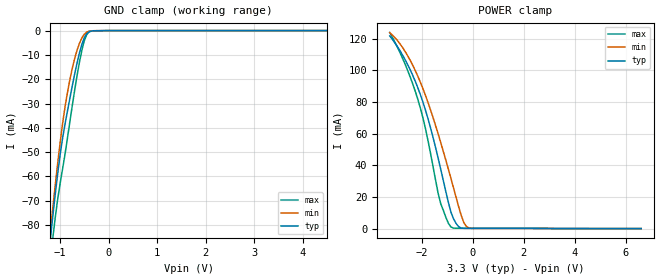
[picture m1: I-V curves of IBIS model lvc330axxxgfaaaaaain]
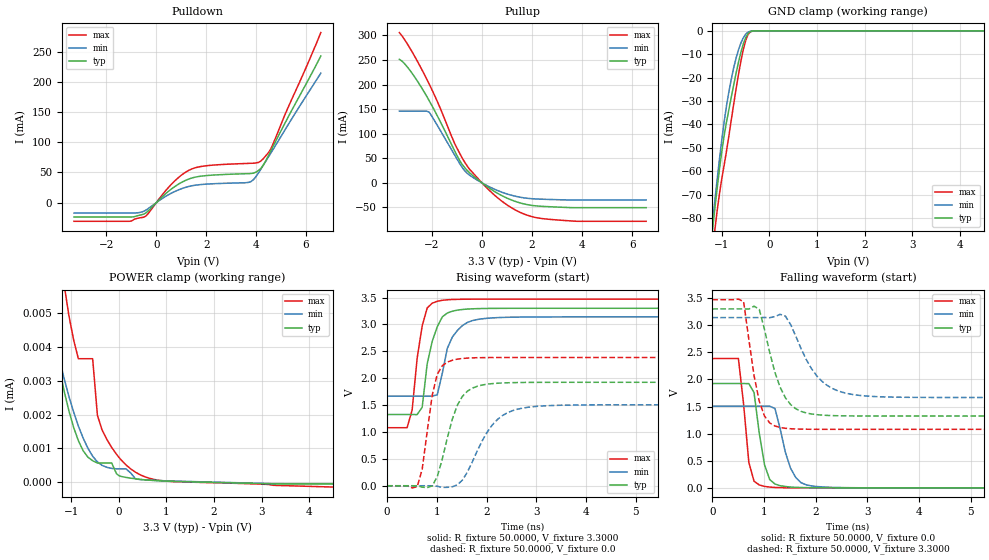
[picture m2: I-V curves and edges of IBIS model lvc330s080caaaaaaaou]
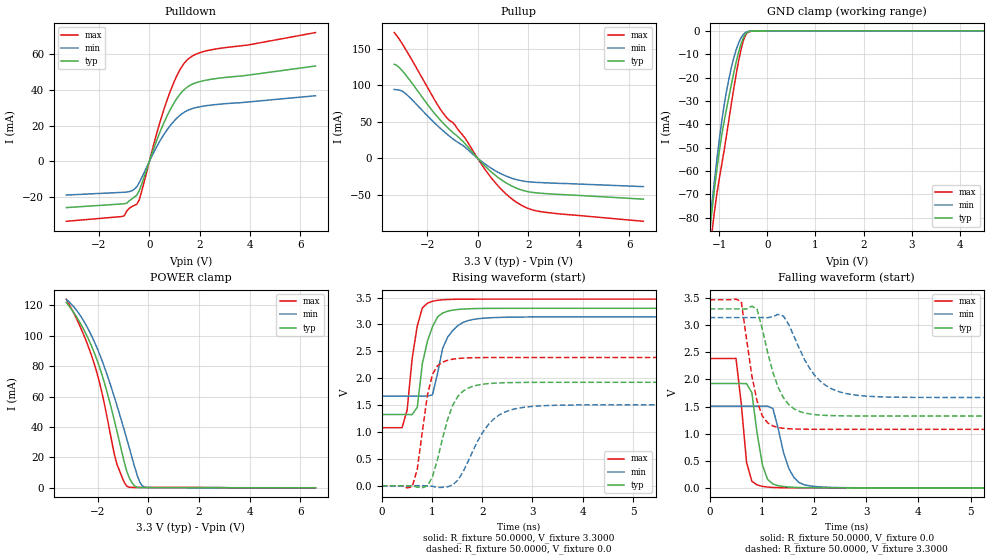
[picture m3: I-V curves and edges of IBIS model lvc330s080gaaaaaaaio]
| IBIS Models Generator: Lattice Diamond (64-bit) 3.13.0.56.2
| Generate date: Sun Dec 22 22:56:46 2024
| IBIS File LibisMaker.ibs
| LibisGen v2.0.1.0, 02/25/2008, Lattice Semiconductor Corporation
| Modified by LibisMaker v2.0.1.0, 02/25/2008, Lattice Semiconductor
| North Carolina State University, ERL, 2006
[IBIS ver]   3.2
[File Name]   lab6_impl1.ibs
[File Rev]   3.6
[Date]   Thu Aug  3 04:51:03 PDT 2023
[Source]   Lattice Semiconductor cs200fl Process
   LCMXO2-4000HC   FINAL
   Lattice Semiconductor has worked hard to ensure the
   models below are accurate and complete.  However, the
   data below was generated using simulation of the
   input/output model files for the silicon.  Therefore,
   the data below is for reference and initial design
   purposes only.
   Lattice Semiconductor grants permission to use this
   data for use in printed circuit design using this
   Lattice programmable logic device.  Other use of this
   code, including the selling or duplication of any
   portion is strictly prohibited.
|   NAMING CONVENTION
   The IBIS [Model] header is limited by the specification to a
   total of characters.  With such a set of characters available
   for naming models it becomes important to attempt to
   meaningfully encode the IO standards so they fit within the
   twenty character limit.  It would seem that twenty characters
   would provide room enough for describing IO's.  However, the
   PLD IO structure continues to grow more and more complex.  The
   complexity is making the twenty characters insuffiently
   descriptive.  In order to overcome this issue the naming
   convention described below is implemented to resolve the issue.
The twenty character space is managed as follows:
   bbbvvvsdddprugtcoixx
   b = standard
   v = voltage (x.xx V)
   s = slew code
   d = drive (xx.x ma)
   p = pullup code
   r = series resistance  or bank_vccio code
   u = terminate to vcc code
   g = terminate to gnd code
   t = terminate to vtt code
   c = common mode termination mode
   o = diff resistor code
   i = diff resistor current code
   x = reserved
   standard
   lvcmos   lvc
   lvcmosd   lvd
   lvcmosr   lvr
   lvds25e   lve
   lvttl   lvt
   lvttld   ltd
   pci   pci
   sstl_I   ss1
   sstl_II   ss2
   sstld_I   s1d
   sstld_II   s2d
   hstl_i   hs1
   hstl_ii   hs2
   hstld_i   h1d
   hstld_ii   h2d
   lvds25   lvs
   blvds25   blv
   blvds25e   blv
   mlvds25   mlv
   mlvds25e   mlv
   lvpecl33   lvp
   lvpecl33e   lvp
   rsds25   rsd
   rsds25e   rse
   mipi   mip
   mipi_lp   mip
   vref1   vr1
   vref2   vr2
   ref_res   rer
   slew
   na   a
   fast   f
   slow   s
   pullmode
   off   a
   pullup   b
   pulldown   c
   bushold   d
   clamp   e
   up_clamp   f
   down_clamp   g
   keeper_clamp   h
   impedance or Bank_vccio
   off   a
   25   b
   33   c
   50   d
   100   e
   3.3   f
   2.5   g
   1.8   h
   1.5   i
   1.2   j
   termVCC
   off   a
   50   b
   100   c
   120   d
   termGND
   off   a
   50   b
   100   c
   120   d
   termVTT
   off   a
   60   b
   75   c
   120   d
   150   e
   210   f
   VCMT
   off   a
   VCMT   b
   VTT   c
   DDR-2   d
   differential resistor
   off   a
   100   b
   diff drive
   NA   a
   2.0   b
   3.5   c
   1.25   f
   2.5   g
   Reserved   IO type
   in   input only
   ou   output
   io   I/O
   od   Open drain
   on   Inverting differential I/O
   (signal name only)
   op   Non-Inverting differential I/O
   (signal name only)
   Lattice Semiconductor Corporation
   5555 NE Moore Court
   Hillsboro, OR 97214
   U.S.A
   TEL: 1-800-Lattice (USA and Canada)
   408-826-6000 (other locations)
   web: http://www.latticesemi.com/
   email: techsupport@latticesemi.com
[Disclaimer] This IBIS source code is intended as a design reference
   which illustrates how the Lattice Semiconductor device operates.
   It is the user's responsibility to verify their design for
   consistency and functionality through the use of formal
   verification methods.  Lattice Semiconductor provides no warranty
   regarding the use or functionality of this data.
[Copyright]   Copyright 2007 by Lattice Semiconductor Corporation
|   Component XO2
[Component]   XO2
[Manufacturer]   Lattice Semiconductor Corp.
[Package]
|CSBGA132
| variable   typ   min   max
R_pkg   285.450m   263.9m   295.0m
L_pkg   4.40nH   3.519nH   5.411nH
C_pkg   0.306pF   0.277pF   0.335pF
[Pin] signal_name   model_name   R_pin   L_pin   C_pin
H12   DQ   lvc330s080gaaaaaaaio
P13   beep   lvc330s080caaaaaaaou
C1   clk   lvc330axxxgfaaaaaain
G3   din   lvc330s080caaaaaaaou
L14   mode_key   lvc330axxxgfaaaaaain
H3   rck   lvc330s080caaaaaaaou
M13   rst   lvc330axxxgfaaaaaain
J2   sck   lvc330s080caaaaaaaou
| Models and submodels in the file (3): lvc330axxxgfaaaaaain (Input), lvc330s080caaaaaaaou (Output), lvc330s080gaaaaaaaio (I/O)
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[Model]   lvc330axxxgfaaaaaain
Model_type   Input
Polarity   Non-Inverting
Enable   Active-Low
Vinl =   0.8000V
Vinh =   2.0000V
C_comp   4.2000pF   3.8000pF   7.5000pF
[Temperature Range]   25.0000   0.1250k   -40.0000
[Voltage Range]   3.3000V   3.1400V   3.4700V
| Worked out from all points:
|   GND clamp passes 1 mA (typ) near -0.43 V on its own axis
|   POWER clamp passes 1 mA (typ) near -0.53 V on its own axis
[GND_clamp]
|Voltage   I(typ)   I(min)   I(max)
-3.3V     -955.3mA   -930.3mA   -978mA
-1.2V     -86.21mA   -82.95mA   -94.94mA
-1.15V    -76.76mA   -73.31mA   -85.77mA
-1.1V     -67.73mA   -63.97mA   -77.32mA
-1V       -51.54mA   -46.59mA   -63.26mA
-900mV    -38.9mA    -31.9mA    -51.31mA
-800mV    -28.29mA   -20.61mA   -38.02mA
-700mV    -18.14mA   -11.66mA   -24.86mA
-600mV    -9.315mA   -5.302mA   -13.12mA
-450mV    -1.255mA   -637uA     -1.701mA
0V        0A         0A         0A
6.6V      0A         0A         0A
[POWER_clamp]
|Voltage   I(typ)   I(min)   I(max)
-3.25V    121.9mA    123.9mA    124.1mA
-2.65V    106.9mA    112.1mA    104.1mA
-2.35V    96.95mA    103.3mA    91.59mA
-2.05V    84.73mA    92.58mA    76.25mA
-1.65V    63.65mA    75mA       47.49mA
-1.35V    44.31mA    59.69mA    21.99mA
-1.25V    37.38mA    54.28mA    15.6mA
-850mV    10.32mA    31.58mA    939uA
-650mV    3.193mA    19.74mA    210uA
-350mV    132.1uA    3.862mA    199.7uA
-150mV    104.6uA    375.8uA    197.7uA
6.6V      -56.35nA   -1.463uA   -71.55uA
[Model]   lvc330s080caaaaaaaou
Model_type   Output
Polarity   Non-Inverting
Enable   Active-Low
Vmeas =   1.500000V
Cref =   0.0F
Rref =   1.0000M
Vref =   0.0V
C_comp   4.2000pF   3.8000pF   7.5000pF
[Temperature Range]   25.0000   0.1250k   -40.0000
[Voltage Range]   3.3000V   3.1400V   3.4700V
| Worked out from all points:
|   slope of the pulldown table from 0 to 0.495 V, typ, clamps not added: 26 ohm
|   slope of the pullup table from 0 to 0.495 V, typ, clamps not added: 28.5 ohm
|   GND clamp passes 1 mA (typ) near -0.44 V on its own axis
|   rising waveform, R_fixture 50.0000, V_fixture 3.3000: 20-80 % time 251ps typ, 301ps min, 192ps max; typ from 1.32 V to 3.3 V
|   rising waveform, R_fixture 50.0000, V_fixture 0.0: 20-80 % time 363ps typ, 551ps min, 235ps max; typ from 0 V to 1.92 V
|   falling waveform, R_fixture 50.0000, V_fixture 0.0: 20-80 % time 188ps typ, 267ps min, 144ps max; typ from 1.92 V to 0 V
|   falling waveform, R_fixture 50.0000, V_fixture 3.3000: 20-80 % time 370ps typ, 535ps min, 253ps max; typ from 3.3 V to 1.32 V
[Pulldown]
|Voltage   I(typ)   I(min)   I(max)
-3.3V     -23.68mA   -17.2mA    -30.83mA
-1.1V     -23.68mA   -17.2mA    -30.83mA
-500mV    -18.89mA   -14.22mA   -24.07mA
-400mV    -16.44mA   -11.92mA   -21.58mA
600mV     22.43mA    15.62mA    30.22mA
1.3V      39.15mA    26.81mA    53.52mA
2V        44.82mA    30.69mA    61.1mA
3.7V      48.02mA    33.59mA    65.1mA
3.9V      48.94mA    38.13mA    65.35mA
4.2V      57.11mA    55.89mA    69.15mA
4.6V      86.19mA    82.47mA    89.45mA
6.6V      242.9mA    214.5mA    281.7mA
[Pullup]
|Voltage   I(typ)   I(min)   I(max)
-3.3V     251.3mA    145.8mA    305.6mA
-2.8V     223.5mA    145.8mA    267.3mA
-2.1V     166.4mA    143.5mA    200mA
-1.7V     127.9mA    109.7mA    155.7mA
-1.1V     65.82mA    57.34mA    80.93mA
-700mV    31.56mA    25.14mA    42.75mA
100mV     -3.836mA   -2.847mA   -5.414mA
800mV     -26.11mA   -19.07mA   -37.53mA
1.5V      -40.43mA   -28.94mA   -59.42mA
2.3V      -47.34mA   -33.02mA   -71.88mA
3.8V      -50.39mA   -34.76mA   -78.11mA
6.55V     -50.39mA   -34.76mA   -78.11mA
[GND_clamp]
|Voltage   I(typ)   I(min)   I(max)
-3.3V     -955.3mA   -930.3mA   -978mA
-1.2V     -86.18mA   -82.93mA   -94.91mA
-1.15V    -76.73mA   -73.29mA   -85.74mA
-1.1V     -67.71mA   -63.95mA   -77.28mA
-1V       -51.52mA   -46.57mA   -63.21mA
-900mV    -38.87mA   -31.88mA   -51.26mA
-800mV    -28.25mA   -20.58mA   -37.97mA
-700mV    -18.1mA    -11.63mA   -24.81mA
-600mV    -9.267mA   -5.265mA   -13.06mA
-450mV    -1.181mA   -586.6uA   -1.592mA
-250mV    -3.532uA   -4.055uA   -3.003uA
6.6V      0A         0A         0A
[POWER_clamp]
|Voltage   I(typ)   I(min)   I(max)
-3.25V    664.8uA    749.4uA    597.1uA
-1.55V    5.914uA    5.712uA    11.4uA
-1.45V    4.987uA    4.974uA    9.751uA
-1.15V    2.703uA    3.073uA    5.863uA
-850mV    1.226uA    1.662uA    3.655uA
-550mV    631.3nA    766.5nA    3.655uA
-450mV    563.6nA    595.5nA    1.977uA
-150mV    563.6nA    404.4nA    1.026uA
0V        190.5nA    391.2nA    734.7nA
450mV     79.23nA    72.94nA    213.9nA
950mV     30.32nA    38.42nA    33.55nA
6.6V      -57.56nA   -49.34nA   -232.5nA
[Ramp]
| variable   typ   min   max
dV/dt_r  1.1542/0.3590n   0.9035/0.5460n   1.4308/0.2329n
dV/dt_f  1.1855/0.3662n   0.8843/0.5297n   1.4345/0.2507n
R_load = 50.0000
[Rising Waveform]
R_fixture=   50.0000
V_fixture=   3.3000
V_fixture_min=   3.1400
V_fixture_max=   3.4700
|time   V(typ)   V(min)   V(max)
0s        1.324V     1.666V     1.079V
404ps     1.324V     1.666V     1.079V
505.1ps   1.324V     1.666V     1.407V
606.1ps   1.323V     1.666V     2.373V
707.1ps   1.46V      1.666V     2.973V
808.1ps   2.269V     1.667V     3.306V
1.01ns    2.956V     1.691V     3.43V
1.313ns   3.246V     2.765V     3.463V
1.818ns   3.293V     3.091V     3.469V
10ns      3.3V       3.14V      3.47V
[Rising Waveform]
R_fixture=   50.0000
V_fixture=   0.0
V_fixture_min=   0.0
V_fixture_max=   0.0
|time   V(typ)   V(min)   V(max)
0s        830nV      1.065uV    812.2nV
606.1ps   -647.3uV   2.343uV    -19.28mV
707.1ps   -25.56mV   18.24uV    307.2mV
909.1ps   -1.644mV   -352.6uV   1.685V
1.01ns    168.3mV    -10.05mV   2.075V
1.313ns   1.24V      -19.03mV   2.334V
1.717ns   1.816V     450.2mV    2.378V
2.121ns   1.9V       1.136V     2.384V
2.727ns   1.921V     1.444V     2.385V
10ns      1.924V     1.506V     2.385V
[Falling Waveform]
R_fixture=   50.0000
V_fixture=   0.0
V_fixture_min=   0.0
V_fixture_max=   0.0
|time   V(typ)   V(min)   V(max)
0s        1.924V     1.506V     2.385V
505.1ps   1.924V     1.506V     2.387V
707.1ps   1.923V     1.506V     469.1mV
808.1ps   1.757V     1.506V     123.1mV
1.01ns    427.9mV    1.507V     27.45mV
1.212ns   71.02mV    1.464V     7.412mV
1.414ns   24.43mV    655.3mV    2.129mV
1.616ns   9.884mV    189mV      652.9uV
1.919ns   2.628mV    35.9mV     184.5uV
10ns      -6.753uV   -8.585uV   -14.06uV
[Falling Waveform]
R_fixture=   50.0000
V_fixture=   3.3000
V_fixture_min=   3.1400
V_fixture_max=   3.4700
|time   V(typ)   V(min)   V(max)
0s        3.3V       3.14V      3.47V
606.1ps   3.3V       3.14V      3.436V
808.1ps   3.351V     3.14V      2.072V
909.1ps   3.292V     3.14V      1.597V
1.111ns   2.497V     3.138V     1.198V
1.313ns   1.855V     3.2V       1.113V
1.616ns   1.458V     2.796V     1.086V
2.02ns    1.35V      2.067V     1.08V
2.626ns   1.327V     1.737V     1.079V
10ns      1.324V     1.666V     1.079V
[Model]   lvc330s080gaaaaaaaio
Model_type   I/O
Polarity   Non-Inverting
Enable   Active-Low
Vinl =   0.8000V
Vinh =   2.0000V
Vmeas =   1.500000V
Cref =   0.0F
Rref =   1.0000M
Vref =   0.0V
C_comp   4.2000pF   3.8000pF   7.5000pF
[Temperature Range]   25.0000   0.1250k   -40.0000
[Voltage Range]   3.3000V   3.1400V   3.4700V
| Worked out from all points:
|   slope of the pulldown table from 0 to 0.495 V, typ, clamps not added: 26.1 ohm
|   slope of the pullup table from 0 to 0.495 V, typ, clamps not added: 28.5 ohm
|   GND clamp passes 1 mA (typ) near -0.43 V on its own axis
|   POWER clamp passes 1 mA (typ) near -0.53 V on its own axis
|   rising waveform, R_fixture 50.0000, V_fixture 3.3000: 20-80 % time 251ps typ, 301ps min, 192ps max; typ from 1.32 V to 3.3 V
|   rising waveform, R_fixture 50.0000, V_fixture 0.0: 20-80 % time 363ps typ, 551ps min, 235ps max; typ from 0 V to 1.92 V
|   falling waveform, R_fixture 50.0000, V_fixture 0.0: 20-80 % time 188ps typ, 267ps min, 144ps max; typ from 1.92 V to 0 V
|   falling waveform, R_fixture 50.0000, V_fixture 3.3000: 20-80 % time 370ps typ, 535ps min, 253ps max; typ from 3.3 V to 1.32 V
[Pulldown]
|Voltage   I(typ)   I(min)   I(max)
-3.3V     -25.84mA   -18.8mA    -33.51mA
-1.1V     -23.79mA   -17.31mA   -30.85mA
-1V       -23.69mA   -17.24mA   -30.48mA
-900mV    -23.39mA   -17.18mA   -27.82mA
-500mV    -18.83mA   -14.17mA   -23.98mA
-400mV    -16.36mA   -11.87mA   -21.45mA
300mV     12.05mA    8.472mA    16.09mA
800mV     28.21mA    19.56mA    38.15mA
1.2V      37.37mA    25.65mA    50.98mA
1.6V      42.51mA    29.09mA    58.05mA
2.4V      45.92mA    31.51mA    62.4mA
6.6V      53.48mA    36.83mA    72.22mA
[Pullup]
|Voltage   I(typ)   I(min)   I(max)
-3.3V     129.1mA    94.49mA    172.6mA
-3V       120.9mA    92.51mA    158.2mA
-2.8V     112.4mA    87.26mA    146.8mA
-1.4V     49.55mA    38.76mA    63.56mA
-900mV    33.01mA    24.56mA    45.81mA
-500mV    20.13mA    15.27mA    27.71mA
500mV     -17.65mA   -12.95mA   -25.2mA
1V        -31.11mA   -22.58mA   -45.03mA
1.4V      -38.97mA   -27.96mA   -57.12mA
1.9V      -45.16mA   -31.85mA   -67.49mA
2.5V      -48.04mA   -33.42mA   -73.33mA
6.55V     -56.13mA   -38.94mA   -86.56mA
[GND_clamp]
|Voltage   I(typ)   I(min)   I(max)
-3.3V     -955.3mA   -930.3mA   -978mA
-1.2V     -86.21mA   -82.95mA   -94.94mA
-1.15V    -76.76mA   -73.31mA   -85.77mA
-1.1V     -67.73mA   -63.97mA   -77.32mA
-1V       -51.54mA   -46.59mA   -63.26mA
-900mV    -38.9mA    -31.9mA    -51.31mA
-800mV    -28.29mA   -20.61mA   -38.02mA
-700mV    -18.14mA   -11.66mA   -24.86mA
-600mV    -9.315mA   -5.302mA   -13.12mA
-450mV    -1.255mA   -637uA     -1.701mA
0V        0A         0A         0A
6.6V      0A         0A         0A
[POWER_clamp]
|Voltage   I(typ)   I(min)   I(max)
-3.25V    121.9mA    123.9mA    124.1mA
-2.65V    106.9mA    112.1mA    104.1mA
-2.35V    96.95mA    103.3mA    91.59mA
-2.05V    84.73mA    92.58mA    76.25mA
-1.65V    63.65mA    75mA       47.49mA
-1.35V    44.31mA    59.69mA    21.99mA
-1.25V    37.38mA    54.28mA    15.6mA
-850mV    10.32mA    31.58mA    939uA
-650mV    3.193mA    19.74mA    210uA
-350mV    132.1uA    3.862mA    199.7uA
-150mV    104.6uA    375.8uA    197.7uA
6.6V      -56.35nA   -1.463uA   -71.55uA
[Ramp]
| variable   typ   min   max
dV/dt_r  1.1542/0.3590n   0.9035/0.5460n   1.4308/0.2329n
dV/dt_f  1.1855/0.3662n   0.8843/0.5297n   1.4345/0.2507n
R_load = 50.0000
[Rising Waveform]
R_fixture=   50.0000
V_fixture=   3.3000
V_fixture_min=   3.1400
V_fixture_max=   3.4700
|time   V(typ)   V(min)   V(max)
0s        1.324V     1.666V     1.079V
404ps     1.324V     1.666V     1.079V
505.1ps   1.324V     1.666V     1.407V
606.1ps   1.323V     1.666V     2.373V
707.1ps   1.46V      1.666V     2.973V
808.1ps   2.269V     1.667V     3.306V
1.01ns    2.956V     1.691V     3.43V
1.313ns   3.246V     2.765V     3.463V
1.818ns   3.293V     3.091V     3.469V
10ns      3.3V       3.14V      3.47V
[Rising Waveform]
R_fixture=   50.0000
V_fixture=   0.0
V_fixture_min=   0.0
V_fixture_max=   0.0
|time   V(typ)   V(min)   V(max)
0s        830nV      1.065uV    812.2nV
606.1ps   -647.3uV   2.343uV    -19.28mV
707.1ps   -25.56mV   18.24uV    307.2mV
909.1ps   -1.644mV   -352.6uV   1.685V
1.01ns    168.3mV    -10.05mV   2.075V
1.313ns   1.24V      -19.03mV   2.334V
1.717ns   1.816V     450.2mV    2.378V
2.121ns   1.9V       1.136V     2.384V
2.727ns   1.921V     1.444V     2.385V
10ns      1.924V     1.506V     2.385V
[Falling Waveform]
R_fixture=   50.0000
V_fixture=   0.0
V_fixture_min=   0.0
V_fixture_max=   0.0
|time   V(typ)   V(min)   V(max)
0s        1.924V     1.506V     2.385V
505.1ps   1.924V     1.506V     2.387V
707.1ps   1.923V     1.506V     469.1mV
808.1ps   1.757V     1.506V     123.1mV
1.01ns    427.9mV    1.507V     27.45mV
1.212ns   71.02mV    1.464V     7.412mV
1.414ns   24.43mV    655.3mV    2.129mV
1.616ns   9.884mV    189mV      652.9uV
1.919ns   2.628mV    35.9mV     184.5uV
10ns      -6.753uV   -8.585uV   -14.06uV
[Falling Waveform]
R_fixture=   50.0000
V_fixture=   3.3000
V_fixture_min=   3.1400
V_fixture_max=   3.4700
|time   V(typ)   V(min)   V(max)
0s        3.3V       3.14V      3.47V
606.1ps   3.3V       3.14V      3.436V
808.1ps   3.351V     3.14V      2.072V
909.1ps   3.292V     3.14V      1.597V
1.111ns   2.497V     3.138V     1.198V
1.313ns   1.855V     3.2V       1.113V
1.616ns   1.458V     2.796V     1.086V
2.02ns    1.35V      2.067V     1.08V
2.626ns   1.327V     1.737V     1.079V
10ns      1.324V     1.666V     1.079V
